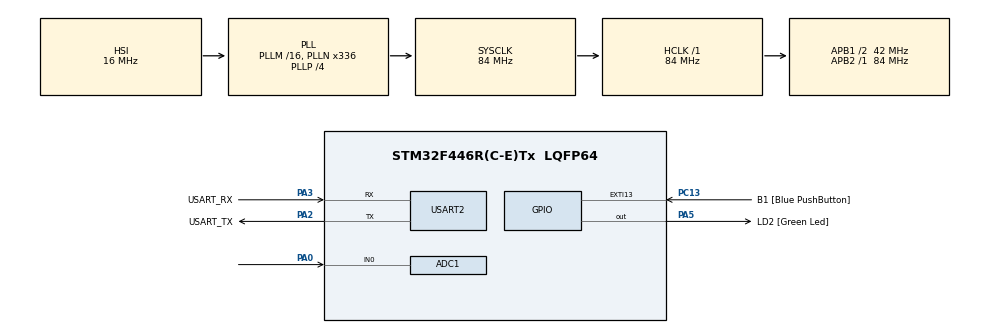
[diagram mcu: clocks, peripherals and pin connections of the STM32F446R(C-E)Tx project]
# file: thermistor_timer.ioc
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ADC1.Channel-0\#ChannelRegularConversion=ADC_CHANNEL_0
ADC1.NbrOfConversionFlag=1
ADC1.Rank-0\#ChannelRegularConversion=1
ADC1.SamplingTime-0\#ChannelRegularConversion=ADC_SAMPLETIME_84CYCLES
ADC1.master=1
Mcu.Family=STM32F4
Mcu.Name=STM32F446R(C-E)Tx
Mcu.Package=LQFP64
NVIC.PriorityGroup=NVIC_PRIORITYGROUP_0
NVIC.TIM3_IRQn=true\:0\:0\:false\:false\:true\:true\:true\:true
PA0-WKUP.Signal=ADCx_IN0
PA13.GPIO_Label=TMS
PA13.Mode=Serial_Wire
PA13.Signal=SYS_JTMS-SWDIO
PA14.GPIO_Label=TCK
PA14.Mode=Serial_Wire
PA14.Signal=SYS_JTCK-SWCLK
PA2.GPIO_Label=USART_TX
PA2.Mode=Asynchronous
PA2.Signal=USART2_TX
PA3.GPIO_Label=USART_RX
PA3.Mode=Asynchronous
PA3.Signal=USART2_RX
PA5.GPIO_Label=LD2 [Green Led]
PA5.Signal=GPIO_Output
PB3.GPIO_Label=SWO
PB3.Signal=SYS_JTDO-SWO
PC13.GPIO_Label=B1 [Blue PushButton]
PC13.GPIO_ModeDefaultEXTI=GPIO_MODE_IT_FALLING
PC13.Signal=GPXTI13
PC14-OSC32_IN.Signal=RCC_OSC32_IN
PC15-OSC32_OUT.Signal=RCC_OSC32_OUT
PH0-OSC_IN.Signal=RCC_OSC_IN
PH1-OSC_OUT.Signal=RCC_OSC_OUT
ProjectManager.HeapSize=0x200
ProjectManager.StackSize=0x400
ProjectManager.TargetToolchain=STM32CubeIDE
RCC.AHBFreq_Value=84000000
RCC.APB1CLKDivider=RCC_HCLK_DIV2
RCC.APB1Freq_Value=42000000
RCC.APB1TimFreq_Value=84000000
RCC.APB2Freq_Value=84000000
RCC.APB2TimFreq_Value=84000000
RCC.CortexFreq_Value=84000000
RCC.FLatency-AdvancedSettings=FLASH_LATENCY_2
RCC.HCLKFreq_Value=84000000
RCC.HSE_VALUE=8000000
RCC.HSI_VALUE=16000000
RCC.LSE_VALUE=32768
RCC.PLLN=336
RCC.PLLP=RCC_PLLP_DIV4
RCC.SYSCLKFreq_VALUE=84000000
RCC.SYSCLKSource=RCC_SYSCLKSOURCE_PLLCLK
RCC.USBFreq_Value=168000000
RCC.VCOOutputFreq_Value=336000000
SH.ADCx_IN0.0=ADC1_IN0,IN0
TIM3.Period=9999
TIM3.Prescaler=8399
USART2.VirtualMode=VM_ASYNC
VP_TIM3_VS_ClockSourceINT.Mode=Internal
board=NUCLEO-F446RE

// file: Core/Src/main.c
/* USER CODE BEGIN Header */
/**
  ******************************************************************************
  * @file           : main.c
  * @brief          : Main program body
  ******************************************************************************
  * @attention
  *
  * Copyright (c) 2026 STMicroelectronics.
  * All rights reserved.
  *
  * This software is licensed under terms that can be found in the LICENSE file
  * in the root directory of this software component.
  * If no LICENSE file comes with this software, it is provided AS-IS.
  *
  ******************************************************************************
  * Functions: CamelCase
  * Variables: snake_case
  * constants and macros: ALL_CAPS
  */
/* USER CODE END Header */
#include "main.h"

/* USER CODE BEGIN Includes */
#include <string.h>
#include <stdio.h>
#include <math.h>
/* USER CODE END Includes */

/* USER CODE BEGIN PM */
#define ADC_TIMEOUT_MS 10
#define R_FIXED 9870.0f // measured fixed resistor (ohms)
#define R_0 10000.0f // thermistor resistance at 25 C
#define T_0 298.15f // 25 C in Kelvin
#define BETA 3950.0f
#define KELVIN_OFFSET 273.15f
#define UART_TIMEOUT_MS 100
#define ADC_MIN_VALID 50
#define ADC_MAX_VALID 4045
#define ADC_MAX_COUNT 4095.0f

/* USER CODE END PM */

ADC_HandleTypeDef hadc1;

TIM_HandleTypeDef htim3;

UART_HandleTypeDef huart2;

/* USER CODE BEGIN PV */
volatile uint8_t sample_flag = 0;
/* USER CODE END PV */

void SystemClock_Config(void);
static void MX_GPIO_Init(void);
static void MX_USART2_UART_Init(void);
static void MX_ADC1_Init(void);
static void MX_TIM3_Init(void);
/* USER CODE BEGIN PFP */
HAL_StatusTypeDef readThermistorRaw(ADC_HandleTypeDef *hadc, uint32_t *raw_count);
float adcToTempF(uint32_t adc);
/* USER CODE END PFP */

int main(void)
{

  /* MCU Configuration--------------------------------------------------------*/

  /* Reset of all peripherals, Initializes the Flash interface and the Systick. */
  HAL_Init();

  /* Configure the system clock */
  SystemClock_Config();

  /* Initialize all configured peripherals */
  MX_GPIO_Init();
  MX_USART2_UART_Init();
  MX_ADC1_Init();
  MX_TIM3_Init();
  /* USER CODE BEGIN 2 */
  char buffer[32];

  HAL_StatusTypeDef status = HAL_TIM_Base_Start_IT(&htim3);
  if(status != HAL_OK){
	  snprintf(buffer, sizeof(buffer), "Timer Start Error: %d\r\n", status);
	  HAL_UART_Transmit(&huart2, (const uint8_t *)buffer, strlen(buffer), HAL_MAX_DELAY);
  }
  /* USER CODE END 2 */

  /* Infinite loop */
  while (1)
  {

    /* USER CODE BEGIN 3 */
	  if(sample_flag == 1){
		  uint32_t adc = 0;
		  float temp_f = 0.0f;
		  sample_flag = 0;
		  status = readThermistorRaw(&hadc1, &adc);
		  if(status != HAL_OK){
			  snprintf(buffer, sizeof(buffer), "Read thermistor error: %d\r\n", status);
			  HAL_UART_Transmit(&huart2, (const uint8_t *)buffer, strlen(buffer), UART_TIMEOUT_MS);
		  }
		  else if(adc < ADC_MIN_VALID){
			  snprintf(buffer, sizeof(buffer), "Thermistor disconnected\r\n");
			  HAL_UART_Transmit(&huart2, (const uint8_t *)buffer, strlen(buffer), UART_TIMEOUT_MS);
		  }
		  else if(adc > ADC_MAX_VALID){
			  snprintf(buffer, sizeof(buffer), "Thermistor shorted\r\n");
			  HAL_UART_Transmit(&huart2, (const uint8_t *)buffer, strlen(buffer), UART_TIMEOUT_MS);
		  }
		  else{
			  temp_f = adcToTempF(adc);
			  snprintf(buffer, sizeof(buffer), "Temp: %.2f F\r\n", temp_f);
			  HAL_UART_Transmit(&huart2, (const uint8_t *)buffer, strlen(buffer), UART_TIMEOUT_MS);
		  }
	  }
  }
  /* USER CODE END 3 */
}

void SystemClock_Config(void)
{
  RCC_OscInitTypeDef RCC_OscInitStruct = {0};
  RCC_ClkInitTypeDef RCC_ClkInitStruct = {0};

  /** Configure the main internal regulator output voltage
  */
  __HAL_RCC_PWR_CLK_ENABLE();
  __HAL_PWR_VOLTAGESCALING_CONFIG(PWR_REGULATOR_VOLTAGE_SCALE3);

  /** Initializes the RCC Oscillators according to the specified parameters
  * in the RCC_OscInitTypeDef structure.
  */
  RCC_OscInitStruct.OscillatorType = RCC_OSCILLATORTYPE_HSI;
  RCC_OscInitStruct.HSIState = RCC_HSI_ON;
  RCC_OscInitStruct.HSICalibrationValue = RCC_HSICALIBRATION_DEFAULT;
  RCC_OscInitStruct.PLL.PLLState = RCC_PLL_ON;
  RCC_OscInitStruct.PLL.PLLSource = RCC_PLLSOURCE_HSI;
  RCC_OscInitStruct.PLL.PLLM = 16;
  RCC_OscInitStruct.PLL.PLLN = 336;
  RCC_OscInitStruct.PLL.PLLP = RCC_PLLP_DIV4;
  RCC_OscInitStruct.PLL.PLLQ = 2;
  RCC_OscInitStruct.PLL.PLLR = 2;
  if (HAL_RCC_OscConfig(&RCC_OscInitStruct) != HAL_OK)
  {
    Error_Handler();
  }

  /** Initializes the CPU, AHB and APB buses clocks
  */
  RCC_ClkInitStruct.ClockType = RCC_CLOCKTYPE_HCLK|RCC_CLOCKTYPE_SYSCLK
                              |RCC_CLOCKTYPE_PCLK1|RCC_CLOCKTYPE_PCLK2;
  RCC_ClkInitStruct.SYSCLKSource = RCC_SYSCLKSOURCE_PLLCLK;
  RCC_ClkInitStruct.AHBCLKDivider = RCC_SYSCLK_DIV1;
  RCC_ClkInitStruct.APB1CLKDivider = RCC_HCLK_DIV2;
  RCC_ClkInitStruct.APB2CLKDivider = RCC_HCLK_DIV1;

  if (HAL_RCC_ClockConfig(&RCC_ClkInitStruct, FLASH_LATENCY_2) != HAL_OK)
  {
    Error_Handler();
  }
}

static void MX_ADC1_Init(void)
{

  ADC_ChannelConfTypeDef sConfig = {0};

  /** Configure the global features of the ADC (Clock, Resolution, Data Alignment and number of conversion)
  */
  hadc1.Instance = ADC1;
  hadc1.Init.ClockPrescaler = ADC_CLOCK_SYNC_PCLK_DIV4;
  hadc1.Init.Resolution = ADC_RESOLUTION_12B;
  hadc1.Init.ScanConvMode = DISABLE;
  hadc1.Init.ContinuousConvMode = DISABLE;
  hadc1.Init.DiscontinuousConvMode = DISABLE;
  hadc1.Init.ExternalTrigConvEdge = ADC_EXTERNALTRIGCONVEDGE_NONE;
  hadc1.Init.ExternalTrigConv = ADC_SOFTWARE_START;
  hadc1.Init.DataAlign = ADC_DATAALIGN_RIGHT;
  hadc1.Init.NbrOfConversion = 1;
  hadc1.Init.DMAContinuousRequests = DISABLE;
  hadc1.Init.EOCSelection = ADC_EOC_SINGLE_CONV;
  if (HAL_ADC_Init(&hadc1) != HAL_OK)
  {
    Error_Handler();
  }

  /** Configure for the selected ADC regular channel its corresponding rank in the sequencer and its sample time.
  */
  sConfig.Channel = ADC_CHANNEL_0;
  sConfig.Rank = 1;
  sConfig.SamplingTime = ADC_SAMPLETIME_84CYCLES;
  if (HAL_ADC_ConfigChannel(&hadc1, &sConfig) != HAL_OK)
  {
    Error_Handler();
  }

}

static void MX_TIM3_Init(void)
{

  TIM_ClockConfigTypeDef sClockSourceConfig = {0};
  TIM_MasterConfigTypeDef sMasterConfig = {0};

  htim3.Instance = TIM3;
  htim3.Init.Prescaler = 8399;
  htim3.Init.CounterMode = TIM_COUNTERMODE_UP;
  htim3.Init.Period = 9999;
  htim3.Init.ClockDivision = TIM_CLOCKDIVISION_DIV1;
  htim3.Init.AutoReloadPreload = TIM_AUTORELOAD_PRELOAD_DISABLE;
  if (HAL_TIM_Base_Init(&htim3) != HAL_OK)
  {
    Error_Handler();
  }
  sClockSourceConfig.ClockSource = TIM_CLOCKSOURCE_INTERNAL;
  if (HAL_TIM_ConfigClockSource(&htim3, &sClockSourceConfig) != HAL_OK)
  {
    Error_Handler();
  }
  sMasterConfig.MasterOutputTrigger = TIM_TRGO_RESET;
  sMasterConfig.MasterSlaveMode = TIM_MASTERSLAVEMODE_DISABLE;
  if (HAL_TIMEx_MasterConfigSynchronization(&htim3, &sMasterConfig) != HAL_OK)
  {
    Error_Handler();
  }

}

static void MX_USART2_UART_Init(void)
{

  huart2.Instance = USART2;
  huart2.Init.BaudRate = 115200;
  huart2.Init.WordLength = UART_WORDLENGTH_8B;
  huart2.Init.StopBits = UART_STOPBITS_1;
  huart2.Init.Parity = UART_PARITY_NONE;
  huart2.Init.Mode = UART_MODE_TX_RX;
  huart2.Init.HwFlowCtl = UART_HWCONTROL_NONE;
  huart2.Init.OverSampling = UART_OVERSAMPLING_16;
  if (HAL_UART_Init(&huart2) != HAL_OK)
  {
    Error_Handler();
  }

}

static void MX_GPIO_Init(void)
{
  GPIO_InitTypeDef GPIO_InitStruct = {0};

  /* GPIO Ports Clock Enable */
  __HAL_RCC_GPIOC_CLK_ENABLE();
  __HAL_RCC_GPIOH_CLK_ENABLE();
  __HAL_RCC_GPIOA_CLK_ENABLE();
  __HAL_RCC_GPIOB_CLK_ENABLE();

  /*Configure GPIO pin Output Level */
  HAL_GPIO_WritePin(LD2_GPIO_Port, LD2_Pin, GPIO_PIN_RESET);

  /*Configure GPIO pin : B1_Pin */
  GPIO_InitStruct.Pin = B1_Pin;
  GPIO_InitStruct.Mode = GPIO_MODE_IT_FALLING;
  GPIO_InitStruct.Pull = GPIO_NOPULL;
  HAL_GPIO_Init(B1_GPIO_Port, &GPIO_InitStruct);

  /*Configure GPIO pin : LD2_Pin */
  GPIO_InitStruct.Pin = LD2_Pin;
  GPIO_InitStruct.Mode = GPIO_MODE_OUTPUT_PP;
  GPIO_InitStruct.Pull = GPIO_NOPULL;
  GPIO_InitStruct.Speed = GPIO_SPEED_FREQ_LOW;
  HAL_GPIO_Init(LD2_GPIO_Port, &GPIO_InitStruct);

}

/* USER CODE BEGIN 4 */
void HAL_TIM_PeriodElapsedCallback(TIM_HandleTypeDef *htim){

	if(htim->Instance == TIM3){
		sample_flag = 1;
	}
}

HAL_StatusTypeDef readThermistorRaw(ADC_HandleTypeDef *hadc, uint32_t *raw_count){
	HAL_StatusTypeDef status = HAL_ADC_Start(hadc);
	if(status != HAL_OK){
		return status;
	}
	status = HAL_ADC_PollForConversion(hadc, ADC_TIMEOUT_MS);
	if(status != HAL_OK){
		return status;
	}
	*raw_count = HAL_ADC_GetValue(hadc);
	return HAL_OK;
}

/*Expects a valid reading between ADC_MIN_VALID and ADC_MAX_VALID*/
float adcToTempF(uint32_t adc){
	float res_temp = R_FIXED * (ADC_MAX_COUNT / adc - 1.0f);
	float invert_t = 1.0f / T_0 + ((1.0f / BETA) * logf(res_temp / R_0));
	float temp_k = 1.0f / invert_t;
	float temp_c = temp_k - KELVIN_OFFSET;
	float temp_f = temp_c * (9.0f / 5.0f) + 32.0f;
	return temp_f;
}

/* USER CODE END 4 */

void Error_Handler(void)
{
  __disable_irq();
  while (1)
  {
  }
}
